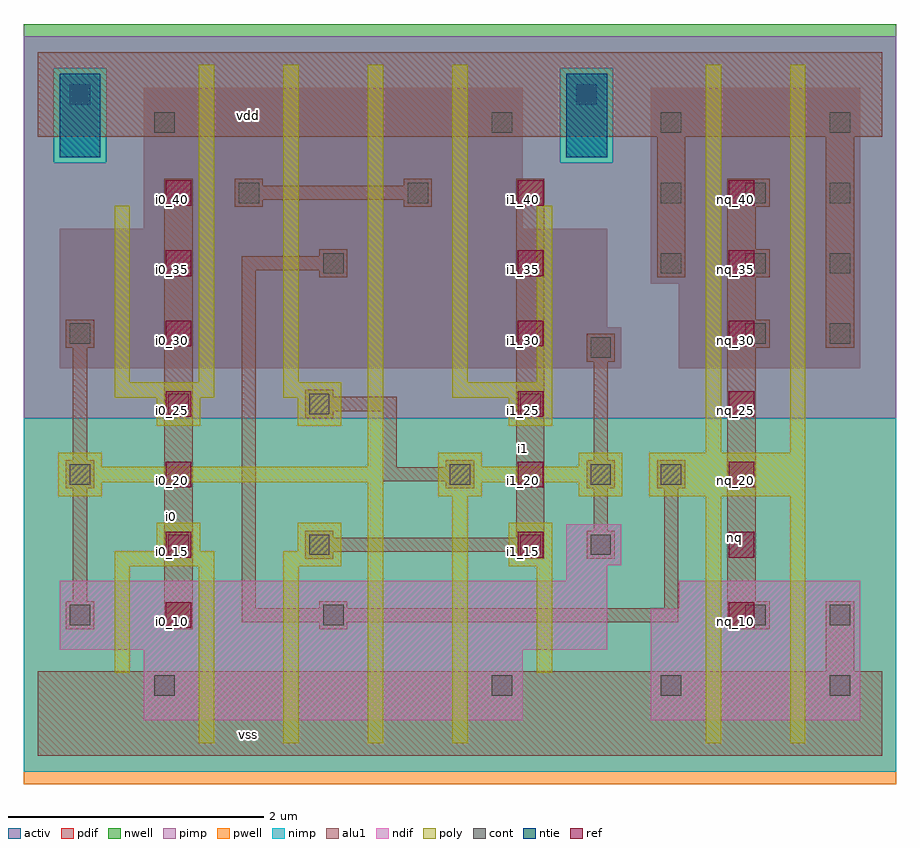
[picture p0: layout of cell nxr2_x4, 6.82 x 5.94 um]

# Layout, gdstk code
import gdstk
lib = gdstk.Library(unit=1e-6, precision=2.5e-09)
def R(c, l, rs):  # rectangles x0, y0, x1, y1
    for r in rs: c.add(gdstk.rectangle(r[:2], r[2:], *l))
def A(c, l, x, y, w, h, nx, ny, dx, dy):  # array of equal rectangles
    R(c, l, [(x+i*dx, y+j*dy, x+i*dx+w, y+j*dy+h) for i in range(nx) for j in range(ny)])
ndif = (3, 0)
pdif = (4, 0)
ntie = (5, 0)
ref = (24, 0)
cont = (25, 0)
pwell = (41, 0)
nwell = (42, 0)
activ = (43, 0)
pimp = (44, 0)
nimp = (45, 0)
poly = (46, 0)
alu1 = (49, 0)

nxr2_x4 = lib.new_cell('nxr2_x4')
R(nxr2_x4, ndif, [(0.83,0.28,3.79,0.83), (0.83,0.28,3.79,0.83), (4.79,0.28,6.43,1.15), (4.79,0.28,6.43,1.15), (0.17,0.83,4.45,1.37), (0.17,0.83,4.45,1.37), (5.01,1.15,6.43,1.37), (5.01,1.15,6.43,1.37), (4.13,1.37,4.45,1.49), (4.13,1.37,4.45,1.49), (4.13,1.49,4.56,1.81), (4.13,1.49,4.56,1.81)])
R(nxr2_x4, pdif, [(0.17,3.03,4.56,3.35), (0.17,3.03,4.56,3.35), (5.01,3.03,6.43,3.69), (5.01,3.03,6.43,3.69), (0.17,3.35,4.45,4.12), (0.17,3.35,4.45,4.12), (4.79,3.69,6.43,5.22), (4.79,3.69,6.43,5.22), (0.83,4.12,3.79,5.22), (0.83,4.12,3.79,5.22)])
R(nxr2_x4, ntie, [(0.17,4.68,0.49,5.33), (0.17,4.68,0.49,5.33), (4.13,4.68,4.45,5.33), (4.13,4.68,4.45,5.33)])
A(nxr2_x4, ref, 1, 1, 0.2, 0.2, 1, 7, 0, 0.55)
A(nxr2_x4, ref, 5.4, 1, 0.2, 0.2, 1, 7, 0, 0.55)
A(nxr2_x4, ref, 3.75, 1.55, 0.2, 0.2, 1, 6, 0, 0.55)
A(nxr2_x4, cont, 3.55, 0.47, 0.16, 0.16, 3, 2, 1.32, 4.4)
A(nxr2_x4, cont, 0.25, 1.02, 0.16, 0.16, 1, 3, 0, 1.1)
A(nxr2_x4, cont, 4.87, 3.77, 0.16, 0.16, 3, 2, 0.66, 0.55)
R(nxr2_x4, cont, [(0.91,0.47,1.07,0.63), (2.23,1.02,2.39,1.18), (5.53,1.02,5.69,1.18), (6.19,1.02,6.35,1.18), (1.02,1.57,1.18,1.73), (2.12,1.57,2.28,1.73), (3.77,1.57,3.93,1.73), (4.32,1.57,4.48,1.73), (3.22,2.12,3.38,2.28), (4.32,2.12,4.48,2.28), (4.87,2.12,5.03,2.28), (1.02,2.67,1.18,2.83), (2.12,2.67,2.28,2.83), (3.77,2.67,3.93,2.83), (4.32,3.11,4.48,3.27), (5.53,3.22,5.69,3.38), (6.19,3.22,6.35,3.38), (2.23,3.77,2.39,3.93), (1.57,4.32,1.73,4.48), (2.89,4.32,3.05,4.48), (0.91,4.87,1.07,5.03), (0.25,5.09,0.41,5.25), (4.21,5.09,4.37,5.25)])
R(nxr2_x4, pwell, [(-0.11,-0.22,6.71,2.64)])
R(nxr2_x4, nwell, [(-0.11,2.64,6.71,5.72)])
R(nxr2_x4, activ, [(0.83,0.28,3.79,0.83), (0.83,0.28,3.79,0.83), (4.79,0.28,6.43,1.15), (4.79,0.28,6.43,1.15), (0.17,0.83,4.45,1.37), (0.17,0.83,4.45,1.37), (5.01,1.15,6.43,1.37), (5.01,1.15,6.43,1.37), (4.13,1.37,4.45,1.49), (4.13,1.37,4.45,1.49), (4.13,1.49,4.56,1.81), (4.13,1.49,4.56,1.81), (0.17,3.03,4.56,3.35), (0.17,3.03,4.56,3.35), (5.01,3.03,6.43,3.69), (5.01,3.03,6.43,3.69), (0.17,3.35,4.45,4.12), (0.17,3.35,4.45,4.12), (4.79,3.69,6.43,5.22), (4.79,3.69,6.43,5.22), (0.83,4.12,3.79,5.22), (0.83,4.12,3.79,5.22), (0.17,4.68,0.49,5.33), (0.17,4.68,0.49,5.33), (4.13,4.68,4.45,5.33), (4.13,4.68,4.45,5.33)])
R(nxr2_x4, pimp, [(-0.11,2.64,6.71,4.635), (-0.11,4.635,0.125,5.375), (0.535,4.635,4.085,5.375), (4.495,4.635,6.71,5.375), (-0.11,5.375,6.71,5.625)])
R(nxr2_x4, nimp, [(-0.11,-0.125,6.71,2.64), (0.125,4.635,0.535,5.375), (4.085,4.635,4.495,5.375)])
R(nxr2_x4, poly, [(1.26,0.1,1.38,1.48), (1.92,0.1,2.04,1.48), (2.58,0.1,2.7,2.14), (3.24,0.1,3.36,2.03), (5.22,0.1,5.34,2.03), (5.88,0.1,6,2.03), (0.6,0.65,0.72,1.48), (3.9,0.65,4.02,1.48), (0.6,1.48,1.38,1.6), (1.92,1.48,2.37,1.6), (3.68,1.48,4.02,1.82), (0.93,1.6,1.27,1.82), (2.03,1.6,2.37,1.82), (0.16,2.03,0.5,2.14), (3.13,2.03,3.47,2.14), (4.23,2.03,4.57,2.14), (4.78,2.03,6,2.37), (0.16,2.14,2.7,2.26), (3.13,2.14,4.57,2.26), (0.16,2.26,0.5,2.37), (2.58,2.26,2.7,5.4), (3.13,2.26,3.47,2.37), (4.23,2.26,4.57,2.37), (5.22,2.37,5.34,5.4), (5.88,2.37,6,5.4), (0.93,2.58,1.27,2.8), (2.03,2.58,2.37,2.8), (3.68,2.58,4.02,2.8), (0.6,2.8,1.38,2.92), (1.92,2.8,2.37,2.92), (3.24,2.8,4.02,2.92), (0.6,2.92,0.72,4.3), (1.26,2.92,1.38,5.4), (1.92,2.92,2.04,5.4), (3.24,2.92,3.36,5.4), (3.9,2.92,4.02,4.3)])
A(nxr2_x4, alu1, 0.22, 0.99, 0.22, 0.22, 1, 3, 0, 1.1)
A(nxr2_x4, alu1, 5.39, 3.19, 0.33, 0.22, 1, 3, 0, 0.55)
R(nxr2_x4, alu1, [(0,0,6.6,0.66), (6.16,0.66,6.38,1.21), (0.99,0.99,1.21,4.51), (2.2,0.99,2.42,1.045), (5.39,0.99,5.72,1.21), (1.595,1.045,5.005,1.155), (1.595,1.155,1.705,3.795), (2.2,1.155,2.42,1.21), (4.895,1.155,5.005,2.09), (0.275,1.21,0.385,2.09), (5.39,1.21,5.61,3.19), (2.09,1.54,2.31,1.595), (3.74,1.54,3.96,1.595), (4.29,1.54,4.51,1.76), (2.09,1.595,3.96,1.705), (2.09,1.705,2.31,1.76), (3.74,1.705,3.96,4.51), (4.345,1.76,4.455,2.09), (3.19,2.09,3.41,2.145), (4.29,2.09,4.51,2.31), (4.84,2.09,5.06,2.31), (2.695,2.145,3.41,2.255), (2.695,2.255,2.805,2.695), (3.19,2.255,3.41,2.31), (0.275,2.31,0.385,3.19), (4.345,2.31,4.455,3.08), (2.09,2.64,2.31,2.695), (2.09,2.695,2.805,2.805), (2.09,2.805,2.31,2.86), (4.29,3.08,4.51,3.3), (6.16,3.19,6.38,4.84), (5.39,3.41,5.61,3.74), (2.2,3.74,2.42,3.795), (4.84,3.74,5.06,4.84), (1.595,3.795,2.42,3.905), (2.2,3.905,2.42,3.96), (5.39,3.96,5.61,4.29), (1.54,4.29,1.76,4.345), (2.86,4.29,3.08,4.345), (1.54,4.345,3.08,4.455), (1.54,4.455,1.76,4.51), (2.86,4.455,3.08,4.51), (0,4.84,6.6,5.5)])
nxr2_x4.add(gdstk.Label('vss', (1.65,0.165), layer=49, texttype=0))
nxr2_x4.add(gdstk.Label('nq', (5.445,1.705), layer=49, texttype=0))
nxr2_x4.add(gdstk.Label('i1', (3.795,2.405), layer=49, texttype=0))
nxr2_x4.add(gdstk.Label('i0', (1.045,1.87), layer=49, texttype=0))
nxr2_x4.add(gdstk.Label('vdd', (1.65,5.005), layer=49, texttype=0))
nxr2_x4.add(gdstk.Label('i0_10', (1.05,1.05), layer=24, texttype=0))
nxr2_x4.add(gdstk.Label('i0_15', (1.05,1.6), layer=24, texttype=0))
nxr2_x4.add(gdstk.Label('i0_25', (1.05,2.7), layer=24, texttype=0))
nxr2_x4.add(gdstk.Label('i0_20', (1.05,2.15), layer=24, texttype=0))
nxr2_x4.add(gdstk.Label('i0_30', (1.05,3.25), layer=24, texttype=0))
nxr2_x4.add(gdstk.Label('i0_35', (1.05,3.8), layer=24, texttype=0))
nxr2_x4.add(gdstk.Label('i0_40', (1.05,4.35), layer=24, texttype=0))
nxr2_x4.add(gdstk.Label('i1_15', (3.8,1.6), layer=24, texttype=0))
nxr2_x4.add(gdstk.Label('i1_20', (3.8,2.15), layer=24, texttype=0))
nxr2_x4.add(gdstk.Label('i1_25', (3.8,2.7), layer=24, texttype=0))
nxr2_x4.add(gdstk.Label('i1_30', (3.8,3.25), layer=24, texttype=0))
nxr2_x4.add(gdstk.Label('i1_35', (3.8,3.8), layer=24, texttype=0))
nxr2_x4.add(gdstk.Label('i1_40', (3.8,4.35), layer=24, texttype=0))
nxr2_x4.add(gdstk.Label('nq_15', (5.45,1.6), layer=24, texttype=0))
nxr2_x4.add(gdstk.Label('nq_20', (5.45,2.15), layer=24, texttype=0))
nxr2_x4.add(gdstk.Label('nq_25', (5.45,2.7), layer=24, texttype=0))
nxr2_x4.add(gdstk.Label('nq_35', (5.45,3.8), layer=24, texttype=0))
nxr2_x4.add(gdstk.Label('nq_30', (5.45,3.25), layer=24, texttype=0))
nxr2_x4.add(gdstk.Label('nq_10', (5.45,1.05), layer=24, texttype=0))
nxr2_x4.add(gdstk.Label('nq_40', (5.45,4.35), layer=24, texttype=0))

lib.write_gds('nxr2_x4.gds')
